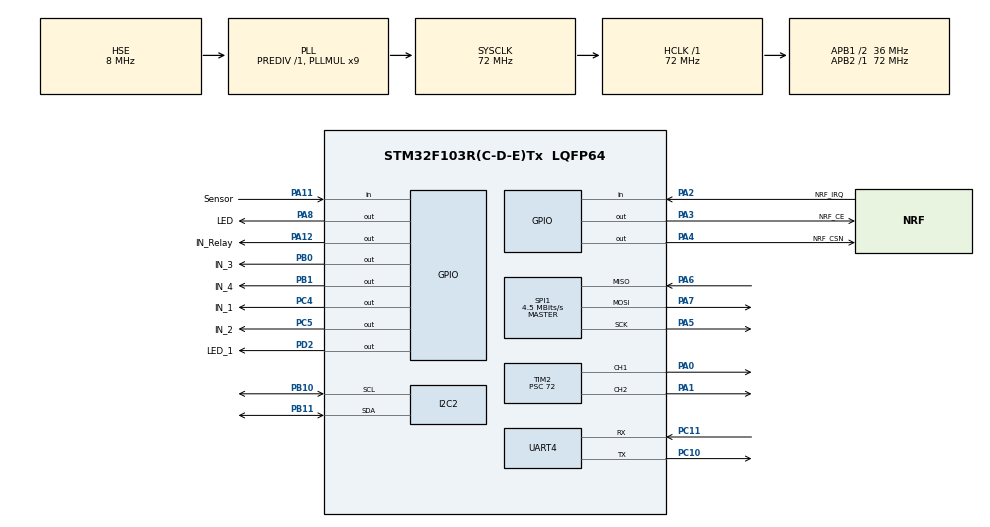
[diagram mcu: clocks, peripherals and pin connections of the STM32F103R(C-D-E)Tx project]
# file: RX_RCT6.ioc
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Mcu.Family=STM32F1
Mcu.Name=STM32F103R(C-D-E)Tx
Mcu.Package=LQFP64
NVIC.PriorityGroup=NVIC_PRIORITYGROUP_4
PA0-WKUP.Signal=S_TIM2_CH1_ETR
PA1.Signal=S_TIM2_CH2
PA11.GPIO_Label=Sensor
PA11.Signal=GPIO_Input
PA12.GPIO_Label=IN_Relay
PA12.Signal=GPIO_Output
PA13.Mode=Serial_Wire
PA13.Signal=SYS_JTMS-SWDIO
PA14.Mode=Serial_Wire
PA14.Signal=SYS_JTCK-SWCLK
PA2.GPIO_Label=NRF_IRQ
PA2.Signal=GPIO_Input
PA3.GPIO_Label=NRF_CE
PA3.Signal=GPIO_Output
PA4.GPIO_Label=NRF_CSN
PA4.Signal=GPIO_Output
PA5.Mode=Full_Duplex_Master
PA5.Signal=SPI1_SCK
PA6.Mode=Full_Duplex_Master
PA6.Signal=SPI1_MISO
PA7.Mode=Full_Duplex_Master
PA7.Signal=SPI1_MOSI
PA8.GPIO_Label=LED
PA8.PinState=GPIO_PIN_RESET
PA8.Signal=GPIO_Output
PB0.GPIO_Label=IN_3
PB0.PinState=GPIO_PIN_SET
PB0.Signal=GPIO_Output
PB1.GPIO_Label=IN_4
PB1.PinState=GPIO_PIN_SET
PB1.Signal=GPIO_Output
PB10.Mode=I2C
PB10.Signal=I2C2_SCL
PB11.Mode=I2C
PB11.Signal=I2C2_SDA
PC10.Mode=Asynchronous
PC10.Signal=UART4_TX
PC11.Mode=Asynchronous
PC11.Signal=UART4_RX
PC4.GPIO_Label=IN_1
PC4.PinState=GPIO_PIN_SET
PC4.Signal=GPIO_Output
PC5.GPIO_Label=IN_2
PC5.PinState=GPIO_PIN_SET
PC5.Signal=GPIO_Output
PD0-OSC_IN.Mode=HSE-External-Oscillator
PD0-OSC_IN.Signal=RCC_OSC_IN
PD1-OSC_OUT.Mode=HSE-External-Oscillator
PD1-OSC_OUT.Signal=RCC_OSC_OUT
PD2.GPIO_Label=LED_1
PD2.PinState=GPIO_PIN_SET
PD2.Signal=GPIO_Output
ProjectManager.HeapSize=0x200
ProjectManager.StackSize=0x400
ProjectManager.TargetToolchain=STM32CubeIDE
RCC.AHBFreq_Value=72000000
RCC.APB1CLKDivider=RCC_HCLK_DIV2
RCC.APB1Freq_Value=36000000
RCC.APB1TimFreq_Value=72000000
RCC.APB2Freq_Value=72000000
RCC.APB2TimFreq_Value=72000000
RCC.HCLKFreq_Value=72000000
RCC.PLLMUL=RCC_PLL_MUL9
RCC.PLLSourceVirtual=RCC_PLLSOURCE_HSE
RCC.SYSCLKFreq_VALUE=72000000
RCC.SYSCLKSource=RCC_SYSCLKSOURCE_PLLCLK
RCC.USBFreq_Value=72000000
SH.S_TIM2_CH1_ETR.0=TIM2_CH1,PWM Generation1 CH1
SH.S_TIM2_CH2.0=TIM2_CH2,PWM Generation2 CH2
SPI1.BaudRatePrescaler=SPI_BAUDRATEPRESCALER_16
SPI1.CalculateBaudRate=4.5 MBits/s
SPI1.Direction=SPI_DIRECTION_2LINES
SPI1.Mode=SPI_MODE_MASTER
SPI1.VirtualType=VM_MASTER
TIM2.Channel-PWM\ Generation1\ CH1=TIM_CHANNEL_1
TIM2.Channel-PWM\ Generation2\ CH2=TIM_CHANNEL_2
TIM2.Period=1000
TIM2.Prescaler=72
UART4.VirtualMode=Asynchronous
VP_TIM2_VS_ClockSourceINT.Mode=Internal
board=custom

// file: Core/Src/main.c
/* USER CODE BEGIN Header */
/**
 ******************************************************************************
 * @file           : main.c
 * @brief          : Main program body
 ******************************************************************************
 * @attention
 *
 * Copyright (c) 2024 STMicroelectronics.
 * All rights reserved.
 *
 * This software is licensed under terms that can be found in the LICENSE file
 * in the root directory of this software component.
 * If no LICENSE file comes with this software, it is provided AS-IS.
 *
 ******************************************************************************
 */
/* USER CODE END Header */
#include "main.h"

/* USER CODE BEGIN Includes */
#include "NRF24L01.h"
#include "stdio.h"
#include "LM75.h"
/* USER CODE END Includes */

/* USER CODE BEGIN PD */
#define SIZE_RX_BUF 4

nrf24 nrfRx;
uint8_t rx_data[SIZE_RX_BUF];
uint8_t rxAddr[] = { 0xEA, 0xDD, 0xCC, 0xBB, 0xAA };
/* USER CODE END PD */

I2C_HandleTypeDef hi2c2;

SPI_HandleTypeDef hspi1;

TIM_HandleTypeDef htim2;

UART_HandleTypeDef huart4;

void SystemClock_Config(void);
static void MX_GPIO_Init(void);
static void MX_SPI1_Init(void);
static void MX_TIM2_Init(void);
static void MX_UART4_Init(void);
static void MX_I2C2_Init(void);

int main(void) {

	/* MCU Configuration--------------------------------------------------------*/

	/* Reset of all peripherals, Initializes the Flash interface and the Systick. */
	HAL_Init();

	/* Configure the system clock */
	SystemClock_Config();

	/* Initialize all configured peripherals */
	MX_GPIO_Init();
	MX_SPI1_Init();
	MX_TIM2_Init();
	MX_UART4_Init();
	MX_I2C2_Init();
	/* USER CODE BEGIN 2 */
	nrfRx.CE_port = NRF_CE_GPIO_Port;
	nrfRx.CE_pin = NRF_CE_Pin;
	nrfRx.CSN_port = NRF_CSN_GPIO_Port;
	nrfRx.CSN_pin = NRF_CSN_Pin;
	nrfRx.IRQ_port = NRF_IRQ_GPIO_Port;
	nrfRx.IRQ_pin = NRF_IRQ_Pin;
	nrfRx.hSPIx = &hspi1;
	NRF24_Init(&nrfRx);
	NRF24_Set_DataRate(&nrfRx, _250KBS);
	NRF24_Set_PALevel(&nrfRx, HIGH);
	NRF24_Set_RxPipe(&nrfRx, rxAddr, 0, SIZE_RX_BUF);
	NRF24_Set_Mode(&nrfRx, RX_MODE);

	rx_data[0] = 0;
	rx_data[1] = 0;
	rx_data[2] = 0;
	rx_data[3] = 0;

	HAL_TIM_PWM_Start(&htim2, TIM_CHANNEL_1);
	__HAL_TIM_SET_COMPARE(&htim2, TIM_CHANNEL_1, 0);
	HAL_TIM_PWM_Start(&htim2, TIM_CHANNEL_2);
	HAL_GPIO_WritePin(IN_Relay_GPIO_Port, IN_Relay_Pin, 0);
	/* USER CODE END 2 */

	/* Infinite loop */
	while (1) {

		/* USER CODE BEGIN 3 */
		char buffer[13];
		float Temp = LM75A_GetTemperature();
		if (Temp > 10 && Temp < 100) {
			sprintf(buffer, "Temp: %.2f\n\t", Temp);
			HAL_UART_Transmit(&huart4, (uint8_t*) buffer, sizeof(buffer), 10);
			HAL_Delay(1000);
			if (Temp > 80 && Temp < 120)
				HAL_GPIO_WritePin(IN_Relay_GPIO_Port, IN_Relay_Pin, 1);
		}
		if (NRF24_Available(&nrfRx, 0) == 1) {
			NRF24_Receive(&nrfRx, rx_data, SIZE_RX_BUF);
			HAL_GPIO_TogglePin(LED_GPIO_Port, LED_Pin);

			if (rx_data[0] == 1) {
//				đi thẳng
				HAL_GPIO_WritePin(IN_1_GPIO_Port, IN_1_Pin, GPIO_PIN_SET);
				HAL_GPIO_WritePin(IN_2_GPIO_Port, IN_2_Pin, GPIO_PIN_RESET);
				__HAL_TIM_SET_COMPARE(&htim2, TIM_CHANNEL_1, 1000);
				HAL_Delay(10);
				HAL_GPIO_WritePin(IN_3_GPIO_Port, IN_3_Pin, GPIO_PIN_SET);
				HAL_GPIO_WritePin(IN_4_GPIO_Port, IN_4_Pin, GPIO_PIN_RESET);
				__HAL_TIM_SET_COMPARE(&htim2, TIM_CHANNEL_1, 1000);
				HAL_Delay(10);
				rx_data[0] = 0;
				rx_data[1] = 0;
				rx_data[2] = 0;
				rx_data[3] = 0;
			} else if (rx_data[1] == 1) {
//				đi lùi
				HAL_GPIO_WritePin(IN_1_GPIO_Port, IN_1_Pin, GPIO_PIN_RESET);
				HAL_GPIO_WritePin(IN_2_GPIO_Port, IN_2_Pin, GPIO_PIN_SET);
				__HAL_TIM_SET_COMPARE(&htim2, TIM_CHANNEL_1, 1000);
				HAL_Delay(10);
				HAL_GPIO_WritePin(IN_3_GPIO_Port, IN_3_Pin, GPIO_PIN_RESET);
				HAL_GPIO_WritePin(IN_4_GPIO_Port, IN_4_Pin, GPIO_PIN_SET);
				__HAL_TIM_SET_COMPARE(&htim2, TIM_CHANNEL_1, 1000);
				HAL_Delay(10);
				rx_data[0] = 0;
				rx_data[1] = 0;
				rx_data[2] = 0;
				rx_data[3] = 0;
			} else if (rx_data[2] == 1) {
				//				đi phải
				HAL_GPIO_WritePin(IN_1_GPIO_Port, IN_1_Pin, GPIO_PIN_RESET);
				HAL_GPIO_WritePin(IN_2_GPIO_Port, IN_2_Pin, GPIO_PIN_SET);
				__HAL_TIM_SET_COMPARE(&htim2, TIM_CHANNEL_1, 1000);
				HAL_Delay(10);
				HAL_GPIO_WritePin(IN_3_GPIO_Port, IN_3_Pin, GPIO_PIN_SET);
				HAL_GPIO_WritePin(IN_4_GPIO_Port, IN_4_Pin, GPIO_PIN_RESET);
				__HAL_TIM_SET_COMPARE(&htim2, TIM_CHANNEL_1, 1000);
				HAL_Delay(10);
				rx_data[0] = 0;
				rx_data[1] = 0;
				rx_data[2] = 0;
				rx_data[3] = 0;
			} else if (rx_data[3] == 1) {
				//				đi trái
				HAL_GPIO_WritePin(IN_1_GPIO_Port, IN_1_Pin, GPIO_PIN_SET);
				HAL_GPIO_WritePin(IN_2_GPIO_Port, IN_2_Pin, GPIO_PIN_RESET);
				__HAL_TIM_SET_COMPARE(&htim2, TIM_CHANNEL_1, 1000);
				HAL_Delay(10);
				HAL_GPIO_WritePin(IN_3_GPIO_Port, IN_3_Pin, GPIO_PIN_RESET);
				HAL_GPIO_WritePin(IN_4_GPIO_Port, IN_4_Pin, GPIO_PIN_SET);
				__HAL_TIM_SET_COMPARE(&htim2, TIM_CHANNEL_1, 1000);
				HAL_Delay(10);
				rx_data[0] = 0;
				rx_data[1] = 0;
				rx_data[2] = 0;
				rx_data[3] = 0;
			} else {
				HAL_GPIO_WritePin(IN_1_GPIO_Port, IN_1_Pin, GPIO_PIN_RESET);
				HAL_GPIO_WritePin(IN_2_GPIO_Port, IN_2_Pin, GPIO_PIN_RESET);
				HAL_GPIO_WritePin(IN_3_GPIO_Port, IN_3_Pin, GPIO_PIN_RESET);
				HAL_GPIO_WritePin(IN_4_GPIO_Port, IN_4_Pin, GPIO_PIN_RESET);
				HAL_TIM_PWM_Stop(&htim2, TIM_CHANNEL_1);
				HAL_GPIO_WritePin(IN_Relay_GPIO_Port, IN_Relay_Pin, 0);
				rx_data[0] = 0;
				rx_data[1] = 0;
				rx_data[2] = 0;
				rx_data[3] = 0;
				rx_data[4] = 0;
			}
		}
		rx_data[0] = 0;
		rx_data[1] = 0;
		rx_data[2] = 0;
		rx_data[3] = 0;
		rx_data[4] = 0;
	}
	/* USER CODE END 3 */
}

void SystemClock_Config(void) {
	RCC_OscInitTypeDef RCC_OscInitStruct = { 0 };
	RCC_ClkInitTypeDef RCC_ClkInitStruct = { 0 };

	/** Initializes the RCC Oscillators according to the specified parameters
	 * in the RCC_OscInitTypeDef structure.
	 */
	RCC_OscInitStruct.OscillatorType = RCC_OSCILLATORTYPE_HSE;
	RCC_OscInitStruct.HSEState = RCC_HSE_ON;
	RCC_OscInitStruct.HSEPredivValue = RCC_HSE_PREDIV_DIV1;
	RCC_OscInitStruct.HSIState = RCC_HSI_ON;
	RCC_OscInitStruct.PLL.PLLState = RCC_PLL_ON;
	RCC_OscInitStruct.PLL.PLLSource = RCC_PLLSOURCE_HSE;
	RCC_OscInitStruct.PLL.PLLMUL = RCC_PLL_MUL9;
	if (HAL_RCC_OscConfig(&RCC_OscInitStruct) != HAL_OK) {
		Error_Handler();
	}

	/** Initializes the CPU, AHB and APB buses clocks
	 */
	RCC_ClkInitStruct.ClockType = RCC_CLOCKTYPE_HCLK | RCC_CLOCKTYPE_SYSCLK
			| RCC_CLOCKTYPE_PCLK1 | RCC_CLOCKTYPE_PCLK2;
	RCC_ClkInitStruct.SYSCLKSource = RCC_SYSCLKSOURCE_PLLCLK;
	RCC_ClkInitStruct.AHBCLKDivider = RCC_SYSCLK_DIV1;
	RCC_ClkInitStruct.APB1CLKDivider = RCC_HCLK_DIV2;
	RCC_ClkInitStruct.APB2CLKDivider = RCC_HCLK_DIV1;

	if (HAL_RCC_ClockConfig(&RCC_ClkInitStruct, FLASH_LATENCY_2) != HAL_OK) {
		Error_Handler();
	}
}

static void MX_I2C2_Init(void) {

	hi2c2.Instance = I2C2;
	hi2c2.Init.ClockSpeed = 100000;
	hi2c2.Init.DutyCycle = I2C_DUTYCYCLE_2;
	hi2c2.Init.OwnAddress1 = 0;
	hi2c2.Init.AddressingMode = I2C_ADDRESSINGMODE_7BIT;
	hi2c2.Init.DualAddressMode = I2C_DUALADDRESS_DISABLE;
	hi2c2.Init.OwnAddress2 = 0;
	hi2c2.Init.GeneralCallMode = I2C_GENERALCALL_DISABLE;
	hi2c2.Init.NoStretchMode = I2C_NOSTRETCH_DISABLE;
	if (HAL_I2C_Init(&hi2c2) != HAL_OK) {
		Error_Handler();
	}

}

static void MX_SPI1_Init(void) {

	/* SPI1 parameter configuration*/
	hspi1.Instance = SPI1;
	hspi1.Init.Mode = SPI_MODE_MASTER;
	hspi1.Init.Direction = SPI_DIRECTION_2LINES;
	hspi1.Init.DataSize = SPI_DATASIZE_8BIT;
	hspi1.Init.CLKPolarity = SPI_POLARITY_LOW;
	hspi1.Init.CLKPhase = SPI_PHASE_1EDGE;
	hspi1.Init.NSS = SPI_NSS_SOFT;
	hspi1.Init.BaudRatePrescaler = SPI_BAUDRATEPRESCALER_16;
	hspi1.Init.FirstBit = SPI_FIRSTBIT_MSB;
	hspi1.Init.TIMode = SPI_TIMODE_DISABLE;
	hspi1.Init.CRCCalculation = SPI_CRCCALCULATION_DISABLE;
	hspi1.Init.CRCPolynomial = 10;
	if (HAL_SPI_Init(&hspi1) != HAL_OK) {
		Error_Handler();
	}

}

static void MX_TIM2_Init(void) {

	TIM_ClockConfigTypeDef sClockSourceConfig = { 0 };
	TIM_MasterConfigTypeDef sMasterConfig = { 0 };
	TIM_OC_InitTypeDef sConfigOC = { 0 };

	htim2.Instance = TIM2;
	htim2.Init.Prescaler = 72;
	htim2.Init.CounterMode = TIM_COUNTERMODE_UP;
	htim2.Init.Period = 1000;
	htim2.Init.ClockDivision = TIM_CLOCKDIVISION_DIV1;
	htim2.Init.AutoReloadPreload = TIM_AUTORELOAD_PRELOAD_DISABLE;
	if (HAL_TIM_Base_Init(&htim2) != HAL_OK) {
		Error_Handler();
	}
	sClockSourceConfig.ClockSource = TIM_CLOCKSOURCE_INTERNAL;
	if (HAL_TIM_ConfigClockSource(&htim2, &sClockSourceConfig) != HAL_OK) {
		Error_Handler();
	}
	if (HAL_TIM_PWM_Init(&htim2) != HAL_OK) {
		Error_Handler();
	}
	sMasterConfig.MasterOutputTrigger = TIM_TRGO_RESET;
	sMasterConfig.MasterSlaveMode = TIM_MASTERSLAVEMODE_DISABLE;
	if (HAL_TIMEx_MasterConfigSynchronization(&htim2, &sMasterConfig)
			!= HAL_OK) {
		Error_Handler();
	}
	sConfigOC.OCMode = TIM_OCMODE_PWM1;
	sConfigOC.Pulse = 0;
	sConfigOC.OCPolarity = TIM_OCPOLARITY_HIGH;
	sConfigOC.OCFastMode = TIM_OCFAST_DISABLE;
	if (HAL_TIM_PWM_ConfigChannel(&htim2, &sConfigOC, TIM_CHANNEL_1)
			!= HAL_OK) {
		Error_Handler();
	}
	if (HAL_TIM_PWM_ConfigChannel(&htim2, &sConfigOC, TIM_CHANNEL_2)
			!= HAL_OK) {
		Error_Handler();
	}
	HAL_TIM_MspPostInit(&htim2);

}

static void MX_UART4_Init(void) {

	huart4.Instance = UART4;
	huart4.Init.BaudRate = 115200;
	huart4.Init.WordLength = UART_WORDLENGTH_8B;
	huart4.Init.StopBits = UART_STOPBITS_1;
	huart4.Init.Parity = UART_PARITY_NONE;
	huart4.Init.Mode = UART_MODE_TX_RX;
	huart4.Init.HwFlowCtl = UART_HWCONTROL_NONE;
	huart4.Init.OverSampling = UART_OVERSAMPLING_16;
	if (HAL_UART_Init(&huart4) != HAL_OK) {
		Error_Handler();
	}

}

static void MX_GPIO_Init(void) {
	GPIO_InitTypeDef GPIO_InitStruct = { 0 };

	/* GPIO Ports Clock Enable */
	__HAL_RCC_GPIOD_CLK_ENABLE();
	__HAL_RCC_GPIOA_CLK_ENABLE();
	__HAL_RCC_GPIOC_CLK_ENABLE();
	__HAL_RCC_GPIOB_CLK_ENABLE();

	/*Configure GPIO pin Output Level */
	HAL_GPIO_WritePin(GPIOA, NRF_CE_Pin | NRF_CSN_Pin | LED_Pin | IN_Relay_Pin,
			GPIO_PIN_RESET);

	/*Configure GPIO pin Output Level */
	HAL_GPIO_WritePin(GPIOC, IN_1_Pin | IN_2_Pin, GPIO_PIN_SET);

	/*Configure GPIO pin Output Level */
	HAL_GPIO_WritePin(GPIOB, IN_3_Pin | IN_4_Pin, GPIO_PIN_SET);

	/*Configure GPIO pin Output Level */
	HAL_GPIO_WritePin(LED_1_GPIO_Port, LED_1_Pin, GPIO_PIN_SET);

	/*Configure GPIO pins : NRF_IRQ_Pin Sensor_Pin */
	GPIO_InitStruct.Pin = NRF_IRQ_Pin | Sensor_Pin;
	GPIO_InitStruct.Mode = GPIO_MODE_INPUT;
	GPIO_InitStruct.Pull = GPIO_NOPULL;
	HAL_GPIO_Init(GPIOA, &GPIO_InitStruct);

	/*Configure GPIO pins : NRF_CE_Pin NRF_CSN_Pin LED_Pin IN_Relay_Pin */
	GPIO_InitStruct.Pin = NRF_CE_Pin | NRF_CSN_Pin | LED_Pin | IN_Relay_Pin;
	GPIO_InitStruct.Mode = GPIO_MODE_OUTPUT_PP;
	GPIO_InitStruct.Pull = GPIO_NOPULL;
	GPIO_InitStruct.Speed = GPIO_SPEED_FREQ_LOW;
	HAL_GPIO_Init(GPIOA, &GPIO_InitStruct);

	/*Configure GPIO pins : IN_1_Pin IN_2_Pin */
	GPIO_InitStruct.Pin = IN_1_Pin | IN_2_Pin;
	GPIO_InitStruct.Mode = GPIO_MODE_OUTPUT_PP;
	GPIO_InitStruct.Pull = GPIO_NOPULL;
	GPIO_InitStruct.Speed = GPIO_SPEED_FREQ_LOW;
	HAL_GPIO_Init(GPIOC, &GPIO_InitStruct);

	/*Configure GPIO pins : IN_3_Pin IN_4_Pin */
	GPIO_InitStruct.Pin = IN_3_Pin | IN_4_Pin;
	GPIO_InitStruct.Mode = GPIO_MODE_OUTPUT_PP;
	GPIO_InitStruct.Pull = GPIO_NOPULL;
	GPIO_InitStruct.Speed = GPIO_SPEED_FREQ_LOW;
	HAL_GPIO_Init(GPIOB, &GPIO_InitStruct);

	/*Configure GPIO pin : LED_1_Pin */
	GPIO_InitStruct.Pin = LED_1_Pin;
	GPIO_InitStruct.Mode = GPIO_MODE_OUTPUT_PP;
	GPIO_InitStruct.Pull = GPIO_NOPULL;
	GPIO_InitStruct.Speed = GPIO_SPEED_FREQ_LOW;
	HAL_GPIO_Init(LED_1_GPIO_Port, &GPIO_InitStruct);

}

void Error_Handler(void) {
	__disable_irq();
	while (1) {
	}
}
